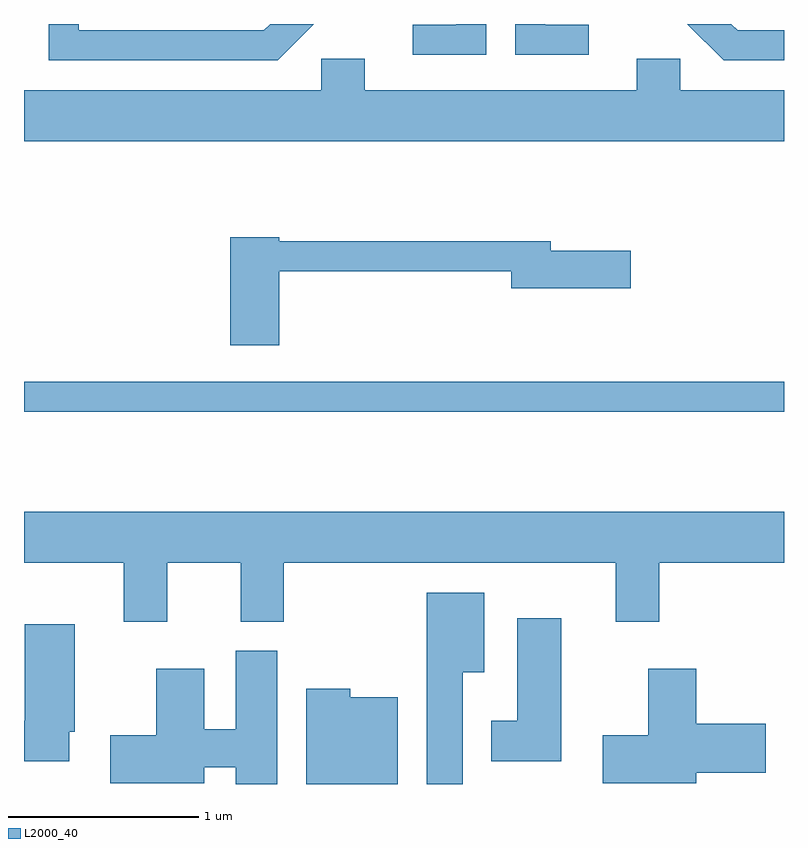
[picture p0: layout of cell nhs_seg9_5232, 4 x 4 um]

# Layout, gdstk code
import gdstk
lib = gdstk.Library(unit=1e-6, precision=1e-09)
def R(c, l, rs):  # rectangles x0, y0, x1, y1
    for r in rs: c.add(gdstk.rectangle(r[:2], r[2:], *l))
def P(c, l, *ps):  # polygons
    for p in ps: c.add(gdstk.Polygon(p, *l))
L2000_40 = (2000, 40)

nhs_seg9_5232 = lib.new_cell('nhs_seg9_5232')
R(nhs_seg9_5232, L2000_40, [(339.611,1990.391,343.611,1990.549)])
P(nhs_seg9_5232, L2000_40, [(342.583,1992.429),(342.354,1992.429),(342.354,1992.432),(342.196,1992.432),(342.196,1992.271),(342.583,1992.271)],
  [(342.044,1992.432),(341.886,1992.432),(341.886,1992.429),(341.658,1992.429),(341.658,1992.271),(342.044,1992.271)],
  [(343.611,1992.399),(343.367,1992.399),(343.334,1992.432),(343.103,1992.432),(343.294,1992.241),(343.611,1992.241)],
  [(341.137,1992.432),(340.907,1992.432),(340.874,1992.399),(339.899,1992.399),(339.899,1992.432),(339.741,1992.432),(339.741,1992.241),(340.947,1992.241)],
  [(343.611,1992.084),(343.064,1992.084),(343.064,1992.249),(342.836,1992.249),(342.836,1992.084),(341.404,1992.084),(341.404,1992.249),(341.176,1992.249),(341.176,1992.084),(339.611,1992.084),(339.611,1991.816),(343.611,1991.816)],
  [(340.954,1991.131),(342.176,1991.131),(342.176,1991.041),(342.804,1991.041),(342.804,1991.239),(342.384,1991.239),(342.384,1991.289),(340.954,1991.289),(340.954,1991.309),(340.696,1991.309),(340.696,1990.741),(340.954,1990.741)],
  [(340.364,1989.596),(340.751,1989.596),(340.751,1989.286),(340.979,1989.286),(340.979,1989.596),(342.726,1989.596),(342.726,1989.286),(342.954,1989.286),(342.954,1989.596),(343.611,1989.596),(343.611,1989.864),(339.611,1989.864),(339.611,1989.596),(340.136,1989.596),(340.136,1989.286),(340.364,1989.286)],
  [(341.919,1989.021),(342.034,1989.021),(342.034,1989.439),(341.731,1989.439),(341.731,1988.432),(341.919,1988.432)],
  [(342.439,1989.304),(342.206,1989.304),(342.206,1988.764),(342.071,1988.764),(342.071,1988.551),(342.439,1988.551)],
  [(339.849,1988.706),(339.879,1988.706),(339.879,1989.274),(339.616,1989.274),(339.616,1988.764),(339.611,1988.764),(339.611,1988.551),(339.849,1988.551)],
  [(340.944,1989.134),(340.726,1989.134),(340.726,1988.719),(340.559,1988.719),(340.559,1989.039),(340.306,1989.039),(340.306,1988.689),(340.066,1988.689),(340.066,1988.436),(340.559,1988.436),(340.559,1988.521),(340.726,1988.521),(340.726,1988.432),(340.944,1988.432)],
  [(343.149,1988.491),(343.514,1988.491),(343.514,1988.749),(343.149,1988.749),(343.149,1989.039),(342.896,1989.039),(342.896,1988.689),(342.656,1988.689),(342.656,1988.436),(343.149,1988.436)],
  [(341.579,1988.889),(341.329,1988.889),(341.329,1988.934),(341.096,1988.934),(341.096,1988.432),(341.579,1988.432)])

lib.write_gds('nhs_seg9_5232.gds')
